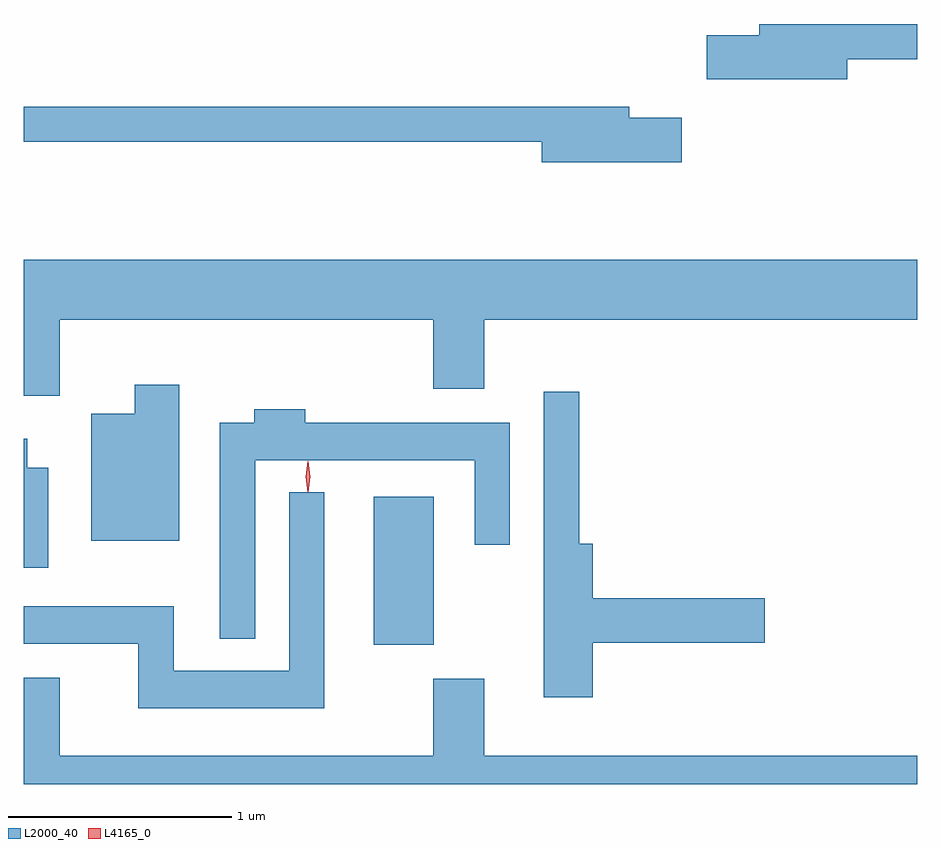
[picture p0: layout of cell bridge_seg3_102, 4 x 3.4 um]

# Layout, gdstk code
import gdstk
lib = gdstk.Library(unit=1e-6, precision=1e-09)
def R(c, l, rs):  # rectangles x0, y0, x1, y1
    for r in rs: c.add(gdstk.rectangle(r[:2], r[2:], *l))
def P(c, l, *ps):  # polygons
    for p in ps: c.add(gdstk.Polygon(p, *l))
L2000_40 = (2000, 40)
L4165_0 = (4165, 0)

bridge_seg3_102 = lib.new_cell('bridge_seg3_102')
R(bridge_seg3_102, L2000_40, [(1019.636,1248.881,1019.904,1249.544)])
P(bridge_seg3_102, L2000_40, [(1021.754,1251.501),(1022.068,1251.501),(1022.068,1251.659),(1021.361,1251.659),(1021.361,1251.609),(1021.126,1251.609),(1021.126,1251.411),(1021.754,1251.411)],
  [(1021.014,1251.239),(1020.779,1251.239),(1020.779,1251.289),(1018.068,1251.289),(1018.068,1251.131),(1020.386,1251.131),(1020.386,1251.041),(1021.014,1251.041)],
  [(1018.229,1250.336),(1019.901,1250.336),(1019.901,1250.026),(1020.129,1250.026),(1020.129,1250.336),(1022.068,1250.336),(1022.068,1250.604),(1018.068,1250.604),(1018.068,1249.996),(1018.229,1249.996)],
  [(1018.764,1250.044),(1018.566,1250.044),(1018.566,1249.914),(1018.371,1249.914),(1018.371,1249.346),(1018.764,1249.346)],
  [(1020.614,1248.891),(1021.384,1248.891),(1021.384,1249.089),(1020.614,1249.089),(1020.614,1249.334),(1020.554,1249.334),(1020.554,1250.013),(1020.396,1250.013),(1020.396,1248.646),(1020.614,1248.646)],
  [(1019.104,1249.706),(1020.086,1249.706),(1020.086,1249.328),(1020.244,1249.328),(1020.244,1249.874),(1019.329,1249.874),(1019.329,1249.934),(1019.101,1249.934),(1019.101,1249.874),(1018.946,1249.874),(1018.946,1248.908),(1019.104,1248.908)],
  [(1018.179,1249.674),(1018.084,1249.674),(1018.084,1249.804),(1018.068,1249.804),(1018.068,1249.226),(1018.179,1249.226)],
  [(1019.414,1249.563),(1019.256,1249.563),(1019.256,1248.764),(1018.739,1248.764),(1018.739,1249.054),(1018.068,1249.054),(1018.068,1248.886),(1018.581,1248.886),(1018.581,1248.596),(1019.414,1248.596)],
  [(1022.068,1248.384),(1020.129,1248.384),(1020.129,1248.729),(1019.901,1248.729),(1019.901,1248.384),(1018.229,1248.384),(1018.229,1248.734),(1018.068,1248.734),(1018.068,1248.258),(1022.068,1248.258)])
P(bridge_seg3_102, L4165_0, [(1019.34,1249.563),(1019.34,1249.564),(1019.331,1249.633),(1019.34,1249.702),(1019.341,1249.703),(1019.341,1249.702),(1019.35,1249.633),(1019.341,1249.564)])

lib.write_gds('bridge_seg3_102.gds')
